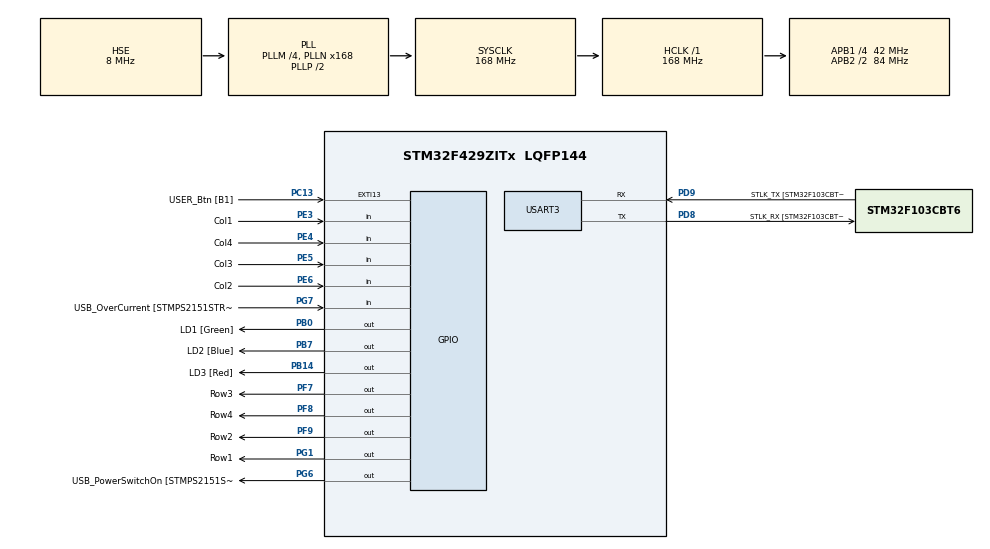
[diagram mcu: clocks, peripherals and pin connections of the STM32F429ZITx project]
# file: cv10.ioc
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Mcu.Family=STM32F4
Mcu.Name=STM32F429ZITx
Mcu.Package=LQFP144
NVIC.PriorityGroup=NVIC_PRIORITYGROUP_4
NVIC.TIM3_IRQn=true\:0\:0\:false\:false\:true\:true\:true\:true
PA1.GPIO_Label=RMII_REF_CLK [LAN8742A-CZ-TR_REFCLK0]
PA1.Signal=ETH_REF_CLK
PA10.GPIO_Label=USB_ID
PA10.Signal=USB_OTG_FS_ID
PA11.GPIO_Label=USB_DM
PA11.Signal=USB_OTG_FS_DM
PA12.GPIO_Label=USB_DP
PA12.Signal=USB_OTG_FS_DP
PA13.GPIO_Label=TMS
PA13.Mode=Serial_Wire
PA13.Signal=SYS_JTMS-SWDIO
PA14.GPIO_Label=TCK
PA14.Mode=Serial_Wire
PA14.Signal=SYS_JTCK-SWCLK
PA2.GPIO_Label=RMII_MDIO [LAN8742A-CZ-TR_MDIO]
PA2.Signal=ETH_MDIO
PA7.GPIO_Label=RMII_CRS_DV [LAN8742A-CZ-TR_CRS_DV]
PA7.Signal=ETH_CRS_DV
PA8.GPIO_Label=USB_SOF [TP1]
PA8.Signal=USB_OTG_FS_SOF
PA9.GPIO_Label=USB_VBUS
PA9.Signal=USB_OTG_FS_VBUS
PB0.GPIO_Label=LD1 [Green]
PB0.Signal=GPIO_Output
PB13.GPIO_Label=RMII_TXD1 [LAN8742A-CZ-TR_TXD1]
PB13.Signal=ETH_TXD1
PB14.GPIO_Label=LD3 [Red]
PB14.Signal=GPIO_Output
PB7.GPIO_Label=LD2 [Blue]
PB7.Signal=GPIO_Output
PC1.GPIO_Label=RMII_MDC [LAN8742A-CZ-TR_MDC]
PC1.Signal=ETH_MDC
PC13.GPIO_Label=USER_Btn [B1]
PC13.Signal=GPXTI13
PC14/OSC32_IN.Mode=LSE-External-Oscillator
PC14/OSC32_IN.Signal=RCC_OSC32_IN
PC15/OSC32_OUT.Mode=LSE-External-Oscillator
PC15/OSC32_OUT.Signal=RCC_OSC32_OUT
PC4.GPIO_Label=RMII_RXD0 [LAN8742A-CZ-TR_RXD0]
PC4.Signal=ETH_RXD0
PC5.GPIO_Label=RMII_RXD1 [LAN8742A-CZ-TR_RXD1]
PC5.Signal=ETH_RXD1
PD8.GPIO_Label=STLK_RX [STM32F103CBT6_PA3]
PD8.Mode=Asynchronous
PD8.Signal=USART3_TX
PD9.GPIO_Label=STLK_TX [STM32F103CBT6_PA2]
PD9.Mode=Asynchronous
PD9.Signal=USART3_RX
PE3.GPIO_Label=Col1
PE3.GPIO_PuPd=GPIO_PULLUP
PE3.Signal=GPIO_Input
PE4.GPIO_Label=Col4
PE4.GPIO_PuPd=GPIO_PULLUP
PE4.Signal=GPIO_Input
PE5.GPIO_Label=Col3
PE5.GPIO_PuPd=GPIO_PULLUP
PE5.Signal=GPIO_Input
PE6.GPIO_Label=Col2
PE6.GPIO_PuPd=GPIO_PULLUP
PE6.Signal=GPIO_Input
PF7.GPIO_Label=Row3
PF7.GPIO_ModeDefaultOutputPP=GPIO_MODE_OUTPUT_OD
PF7.GPIO_PuPd=GPIO_NOPULL
PF7.Signal=GPIO_Output
PF8.GPIO_Label=Row4
PF8.GPIO_ModeDefaultOutputPP=GPIO_MODE_OUTPUT_OD
PF8.GPIO_PuPd=GPIO_NOPULL
PF8.Signal=GPIO_Output
PF9.GPIO_Label=Row2
PF9.GPIO_ModeDefaultOutputPP=GPIO_MODE_OUTPUT_OD
PF9.GPIO_PuPd=GPIO_NOPULL
PF9.Signal=GPIO_Output
PG1.GPIO_Label=Row1
PG1.GPIO_ModeDefaultOutputPP=GPIO_MODE_OUTPUT_OD
PG1.GPIO_PuPd=GPIO_NOPULL
PG1.Signal=GPIO_Output
PG11.GPIO_Label=RMII_TX_EN [LAN8742A-CZ-TR_TXEN]
PG11.Signal=ETH_TX_EN
PG13.GPIO_Label=RMII_TXD0 [LAN8742A-CZ-TR_TXD0]
PG13.Signal=ETH_TXD0
PG6.GPIO_Label=USB_PowerSwitchOn [STMPS2151STR_EN]
PG6.Signal=GPIO_Output
PG7.GPIO_Label=USB_OverCurrent [STMPS2151STR_FAULT]
PG7.Signal=GPIO_Input
PH0/OSC_IN.GPIO_Label=MCO [STM32F103CBT6_PA8]
PH0/OSC_IN.Mode=HSE-External-Clock-Source
PH0/OSC_IN.Signal=RCC_OSC_IN
PH1/OSC_OUT.Mode=HSE-External-Clock-Source
PH1/OSC_OUT.Signal=RCC_OSC_OUT
ProjectManager.HeapSize=0x200
ProjectManager.StackSize=0x400
ProjectManager.TargetToolchain=STM32CubeIDE
RCC.48MHZClocksFreq_Value=48000000
RCC.AHBFreq_Value=168000000
RCC.APB1CLKDivider=RCC_HCLK_DIV4
RCC.APB1Freq_Value=42000000
RCC.APB1TimFreq_Value=84000000
RCC.APB2CLKDivider=RCC_HCLK_DIV2
RCC.APB2Freq_Value=84000000
RCC.APB2TimCLKDivider=2
RCC.APB2TimFreq_Value=168000000
RCC.CortexFreq_Value=168000000
RCC.HCLKFreq_Value=168000000
RCC.HSE_VALUE=8000000
RCC.HSI_VALUE=16000000
RCC.PLLM=4
RCC.PLLMUL=RCC_PLL_MUL9
RCC.PLLN=168
RCC.PLLQ=7
RCC.PLLSourceVirtual=RCC_PLLSOURCE_HSE
RCC.PRESCALERUSB=RCC_USBCLKSOURCE_PLL_DIV1_5
RCC.SYSCLKFreq_VALUE=168000000
RCC.SYSCLKSource=RCC_SYSCLKSOURCE_PLLCLK
RCC.SYSCLKSourceVirtual=RCC_SYSCLKSOURCE_PLLCLK
RCC.USBFreq_Value=48000000
RCC.VCOOutputFreq_Value=336000000
TIM3.AutoReloadPreload=TIM_AUTORELOAD_PRELOAD_DISABLE
TIM3.Period=99
TIM3.Prescaler=8399
USART3.VirtualMode=VM_ASYNC
VP_TIM3_VS_ClockSourceINT.Mode=Internal
board=NUCLEO-F429ZI

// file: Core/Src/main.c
/* USER CODE BEGIN Header */
/**
  ******************************************************************************
  * @file           : main.c
  * @brief          : Main program body
  ******************************************************************************
  * @attention
  *
  * Copyright (c) 2023 STMicroelectronics.
  * All rights reserved.
  *
  * This software is licensed under terms that can be found in the LICENSE file
  * in the root directory of this software component.
  * If no LICENSE file comes with this software, it is provided AS-IS.
  *
  ******************************************************************************
  */
/* USER CODE END Header */
#include "main.h"

/* USER CODE BEGIN Includes */
#include <stdio.h>
/* USER CODE END Includes */

/* USER CODE BEGIN PD */
#define DELAY_3s 3000
/* USER CODE END PD */

TIM_HandleTypeDef htim3;

UART_HandleTypeDef huart3;

/* USER CODE BEGIN PV */
static volatile uint32_t key;
/* USER CODE END PV */

void SystemClock_Config(void);
static void MX_GPIO_Init(void);
static void MX_USART3_UART_Init(void);
static void MX_TIM3_Init(void);

/* USER CODE BEGIN 0 */
int __io_putchar(int ch) {
	ITM_SendChar(ch);
	return 0;
}

/* USER CODE END 0 */

int main(void)
{

  /* MCU Configuration--------------------------------------------------------*/

  /* Reset of all peripherals, Initializes the Flash interface and the Systick. */
  HAL_Init();

  /* Configure the system clock */
  SystemClock_Config();

  /* Initialize all configured peripherals */
  MX_GPIO_Init();
  MX_USART3_UART_Init();
  MX_TIM3_Init();
  /* USER CODE BEGIN 2 */
  HAL_TIM_Base_Start_IT(&htim3);
  /* USER CODE END 2 */

  /* Infinite loop */
  while (1)
  {

    /* USER CODE BEGIN 3 */
	static const uint32_t code[] = {7,9,3,2,12};
	uint32_t position;
	static uint16_t delay;

	if (HAL_GetTick() > delay + DELAY_3s) {
				position = 0;
	}
	delay = HAL_GetTick();
	if (key != -1) {
		if (key == code[position] && position == 0){
			position = 1;
			printf("code: %d > position: %d\n", key, position);
		}
		else if (key == code[position] && position == 1){
			position = 2;
			printf("code: %d > position: %d\n", key, position);
		}
		else if (key == code[position] && position == 2){
			position = 3;
			printf("code: %d > position: %d\n", key, position);
			}
		else if (key == code[position] && position == 3){
			position = 4;
			printf("code: %d > position: %d\n", key, position);
		}
		else if (key == code[position] && position == 4){
			position = 0;
			printf("code: %d > position: %d\n", key, position);
			printf("Right password\n");
			HAL_GPIO_TogglePin(LD1_GPIO_Port, LD1_Pin);
		}
		else {
			position = 0;
			printf("code: %d > position: %d\n", key, position);
		}
		HAL_Delay(500);
		delay = HAL_GetTick;
		key = -1;
	}
  }
  /* USER CODE END 3 */
}

void SystemClock_Config(void)
{
  RCC_OscInitTypeDef RCC_OscInitStruct = {0};
  RCC_ClkInitTypeDef RCC_ClkInitStruct = {0};

  /** Configure the main internal regulator output voltage
  */
  __HAL_RCC_PWR_CLK_ENABLE();
  __HAL_PWR_VOLTAGESCALING_CONFIG(PWR_REGULATOR_VOLTAGE_SCALE1);

  /** Initializes the RCC Oscillators according to the specified parameters
  * in the RCC_OscInitTypeDef structure.
  */
  RCC_OscInitStruct.OscillatorType = RCC_OSCILLATORTYPE_HSE;
  RCC_OscInitStruct.HSEState = RCC_HSE_BYPASS;
  RCC_OscInitStruct.PLL.PLLState = RCC_PLL_ON;
  RCC_OscInitStruct.PLL.PLLSource = RCC_PLLSOURCE_HSE;
  RCC_OscInitStruct.PLL.PLLM = 4;
  RCC_OscInitStruct.PLL.PLLN = 168;
  RCC_OscInitStruct.PLL.PLLP = RCC_PLLP_DIV2;
  RCC_OscInitStruct.PLL.PLLQ = 7;
  if (HAL_RCC_OscConfig(&RCC_OscInitStruct) != HAL_OK)
  {
    Error_Handler();
  }

  /** Initializes the CPU, AHB and APB buses clocks
  */
  RCC_ClkInitStruct.ClockType = RCC_CLOCKTYPE_HCLK|RCC_CLOCKTYPE_SYSCLK
                              |RCC_CLOCKTYPE_PCLK1|RCC_CLOCKTYPE_PCLK2;
  RCC_ClkInitStruct.SYSCLKSource = RCC_SYSCLKSOURCE_PLLCLK;
  RCC_ClkInitStruct.AHBCLKDivider = RCC_SYSCLK_DIV1;
  RCC_ClkInitStruct.APB1CLKDivider = RCC_HCLK_DIV4;
  RCC_ClkInitStruct.APB2CLKDivider = RCC_HCLK_DIV2;

  if (HAL_RCC_ClockConfig(&RCC_ClkInitStruct, FLASH_LATENCY_5) != HAL_OK)
  {
    Error_Handler();
  }
}

static void MX_TIM3_Init(void)
{

  TIM_ClockConfigTypeDef sClockSourceConfig = {0};
  TIM_MasterConfigTypeDef sMasterConfig = {0};

  htim3.Instance = TIM3;
  htim3.Init.Prescaler = 8399;
  htim3.Init.CounterMode = TIM_COUNTERMODE_UP;
  htim3.Init.Period = 99;
  htim3.Init.ClockDivision = TIM_CLOCKDIVISION_DIV1;
  htim3.Init.AutoReloadPreload = TIM_AUTORELOAD_PRELOAD_DISABLE;
  if (HAL_TIM_Base_Init(&htim3) != HAL_OK)
  {
    Error_Handler();
  }
  sClockSourceConfig.ClockSource = TIM_CLOCKSOURCE_INTERNAL;
  if (HAL_TIM_ConfigClockSource(&htim3, &sClockSourceConfig) != HAL_OK)
  {
    Error_Handler();
  }
  sMasterConfig.MasterOutputTrigger = TIM_TRGO_RESET;
  sMasterConfig.MasterSlaveMode = TIM_MASTERSLAVEMODE_DISABLE;
  if (HAL_TIMEx_MasterConfigSynchronization(&htim3, &sMasterConfig) != HAL_OK)
  {
    Error_Handler();
  }

}

static void MX_USART3_UART_Init(void)
{

  huart3.Instance = USART3;
  huart3.Init.BaudRate = 115200;
  huart3.Init.WordLength = UART_WORDLENGTH_8B;
  huart3.Init.StopBits = UART_STOPBITS_1;
  huart3.Init.Parity = UART_PARITY_NONE;
  huart3.Init.Mode = UART_MODE_TX_RX;
  huart3.Init.HwFlowCtl = UART_HWCONTROL_NONE;
  huart3.Init.OverSampling = UART_OVERSAMPLING_16;
  if (HAL_UART_Init(&huart3) != HAL_OK)
  {
    Error_Handler();
  }

}

static void MX_GPIO_Init(void)
{
  GPIO_InitTypeDef GPIO_InitStruct = {0};

  /* GPIO Ports Clock Enable */
  __HAL_RCC_GPIOE_CLK_ENABLE();
  __HAL_RCC_GPIOC_CLK_ENABLE();
  __HAL_RCC_GPIOF_CLK_ENABLE();
  __HAL_RCC_GPIOH_CLK_ENABLE();
  __HAL_RCC_GPIOA_CLK_ENABLE();
  __HAL_RCC_GPIOB_CLK_ENABLE();
  __HAL_RCC_GPIOG_CLK_ENABLE();
  __HAL_RCC_GPIOD_CLK_ENABLE();

  /*Configure GPIO pin Output Level */
  HAL_GPIO_WritePin(GPIOF, Row3_Pin|Row4_Pin|Row2_Pin, GPIO_PIN_RESET);

  /*Configure GPIO pin Output Level */
  HAL_GPIO_WritePin(GPIOB, LD1_Pin|LD3_Pin|LD2_Pin, GPIO_PIN_RESET);

  /*Configure GPIO pin Output Level */
  HAL_GPIO_WritePin(GPIOG, Row1_Pin|USB_PowerSwitchOn_Pin, GPIO_PIN_RESET);

  /*Configure GPIO pins : Col1_Pin Col4_Pin Col3_Pin Col2_Pin */
  GPIO_InitStruct.Pin = Col1_Pin|Col4_Pin|Col3_Pin|Col2_Pin;
  GPIO_InitStruct.Mode = GPIO_MODE_INPUT;
  GPIO_InitStruct.Pull = GPIO_PULLUP;
  HAL_GPIO_Init(GPIOE, &GPIO_InitStruct);

  /*Configure GPIO pin : USER_Btn_Pin */
  GPIO_InitStruct.Pin = USER_Btn_Pin;
  GPIO_InitStruct.Mode = GPIO_MODE_IT_RISING;
  GPIO_InitStruct.Pull = GPIO_NOPULL;
  HAL_GPIO_Init(USER_Btn_GPIO_Port, &GPIO_InitStruct);

  /*Configure GPIO pins : Row3_Pin Row4_Pin Row2_Pin */
  GPIO_InitStruct.Pin = Row3_Pin|Row4_Pin|Row2_Pin;
  GPIO_InitStruct.Mode = GPIO_MODE_OUTPUT_OD;
  GPIO_InitStruct.Pull = GPIO_NOPULL;
  GPIO_InitStruct.Speed = GPIO_SPEED_FREQ_LOW;
  HAL_GPIO_Init(GPIOF, &GPIO_InitStruct);

  /*Configure GPIO pins : RMII_MDC_Pin RMII_RXD0_Pin RMII_RXD1_Pin */
  GPIO_InitStruct.Pin = RMII_MDC_Pin|RMII_RXD0_Pin|RMII_RXD1_Pin;
  GPIO_InitStruct.Mode = GPIO_MODE_AF_PP;
  GPIO_InitStruct.Pull = GPIO_NOPULL;
  GPIO_InitStruct.Speed = GPIO_SPEED_FREQ_VERY_HIGH;
  GPIO_InitStruct.Alternate = GPIO_AF11_ETH;
  HAL_GPIO_Init(GPIOC, &GPIO_InitStruct);

  /*Configure GPIO pins : RMII_REF_CLK_Pin RMII_MDIO_Pin RMII_CRS_DV_Pin */
  GPIO_InitStruct.Pin = RMII_REF_CLK_Pin|RMII_MDIO_Pin|RMII_CRS_DV_Pin;
  GPIO_InitStruct.Mode = GPIO_MODE_AF_PP;
  GPIO_InitStruct.Pull = GPIO_NOPULL;
  GPIO_InitStruct.Speed = GPIO_SPEED_FREQ_VERY_HIGH;
  GPIO_InitStruct.Alternate = GPIO_AF11_ETH;
  HAL_GPIO_Init(GPIOA, &GPIO_InitStruct);

  /*Configure GPIO pins : LD1_Pin LD3_Pin LD2_Pin */
  GPIO_InitStruct.Pin = LD1_Pin|LD3_Pin|LD2_Pin;
  GPIO_InitStruct.Mode = GPIO_MODE_OUTPUT_PP;
  GPIO_InitStruct.Pull = GPIO_NOPULL;
  GPIO_InitStruct.Speed = GPIO_SPEED_FREQ_LOW;
  HAL_GPIO_Init(GPIOB, &GPIO_InitStruct);

  /*Configure GPIO pin : Row1_Pin */
  GPIO_InitStruct.Pin = Row1_Pin;
  GPIO_InitStruct.Mode = GPIO_MODE_OUTPUT_OD;
  GPIO_InitStruct.Pull = GPIO_NOPULL;
  GPIO_InitStruct.Speed = GPIO_SPEED_FREQ_LOW;
  HAL_GPIO_Init(Row1_GPIO_Port, &GPIO_InitStruct);

  /*Configure GPIO pin : RMII_TXD1_Pin */
  GPIO_InitStruct.Pin = RMII_TXD1_Pin;
  GPIO_InitStruct.Mode = GPIO_MODE_AF_PP;
  GPIO_InitStruct.Pull = GPIO_NOPULL;
  GPIO_InitStruct.Speed = GPIO_SPEED_FREQ_VERY_HIGH;
  GPIO_InitStruct.Alternate = GPIO_AF11_ETH;
  HAL_GPIO_Init(RMII_TXD1_GPIO_Port, &GPIO_InitStruct);

  /*Configure GPIO pin : USB_PowerSwitchOn_Pin */
  GPIO_InitStruct.Pin = USB_PowerSwitchOn_Pin;
  GPIO_InitStruct.Mode = GPIO_MODE_OUTPUT_PP;
  GPIO_InitStruct.Pull = GPIO_NOPULL;
  GPIO_InitStruct.Speed = GPIO_SPEED_FREQ_LOW;
  HAL_GPIO_Init(USB_PowerSwitchOn_GPIO_Port, &GPIO_InitStruct);

  /*Configure GPIO pin : USB_OverCurrent_Pin */
  GPIO_InitStruct.Pin = USB_OverCurrent_Pin;
  GPIO_InitStruct.Mode = GPIO_MODE_INPUT;
  GPIO_InitStruct.Pull = GPIO_NOPULL;
  HAL_GPIO_Init(USB_OverCurrent_GPIO_Port, &GPIO_InitStruct);

  /*Configure GPIO pins : USB_SOF_Pin USB_ID_Pin USB_DM_Pin USB_DP_Pin */
  GPIO_InitStruct.Pin = USB_SOF_Pin|USB_ID_Pin|USB_DM_Pin|USB_DP_Pin;
  GPIO_InitStruct.Mode = GPIO_MODE_AF_PP;
  GPIO_InitStruct.Pull = GPIO_NOPULL;
  GPIO_InitStruct.Speed = GPIO_SPEED_FREQ_VERY_HIGH;
  GPIO_InitStruct.Alternate = GPIO_AF10_OTG_FS;
  HAL_GPIO_Init(GPIOA, &GPIO_InitStruct);

  /*Configure GPIO pin : USB_VBUS_Pin */
  GPIO_InitStruct.Pin = USB_VBUS_Pin;
  GPIO_InitStruct.Mode = GPIO_MODE_INPUT;
  GPIO_InitStruct.Pull = GPIO_NOPULL;
  HAL_GPIO_Init(USB_VBUS_GPIO_Port, &GPIO_InitStruct);

  /*Configure GPIO pins : RMII_TX_EN_Pin RMII_TXD0_Pin */
  GPIO_InitStruct.Pin = RMII_TX_EN_Pin|RMII_TXD0_Pin;
  GPIO_InitStruct.Mode = GPIO_MODE_AF_PP;
  GPIO_InitStruct.Pull = GPIO_NOPULL;
  GPIO_InitStruct.Speed = GPIO_SPEED_FREQ_VERY_HIGH;
  GPIO_InitStruct.Alternate = GPIO_AF11_ETH;
  HAL_GPIO_Init(GPIOG, &GPIO_InitStruct);

}

/* USER CODE BEGIN 4 */
void HAL_TIM_PeriodElapsedCallback(TIM_HandleTypeDef *htim) {
	static int row = 0;
	static const int keyboard[4][4] = {
			{ 1, 2, 3, 21 },
			{ 4, 5, 6, 22 },
			{ 7, 8, 9, 23 },
			{ 11, 0, 12, 24 },
	};
	if (key == -1) {
		if (HAL_GPIO_ReadPin(Col1_GPIO_Port, Col1_Pin) == GPIO_PIN_RESET)
			key = keyboard[row][0];
		if (HAL_GPIO_ReadPin(Col2_GPIO_Port, Col2_Pin) == GPIO_PIN_RESET)
			key = keyboard[row][1];
		if (HAL_GPIO_ReadPin(Col3_GPIO_Port, Col3_Pin) == GPIO_PIN_RESET)
			key = keyboard[row][2];
		if (HAL_GPIO_ReadPin(Col4_GPIO_Port, Col4_Pin) == GPIO_PIN_RESET)
			key = keyboard[row][3];

	}
	HAL_GPIO_WritePin(Row1_GPIO_Port, Row1_Pin, GPIO_PIN_SET);
	HAL_GPIO_WritePin(Row2_GPIO_Port, Row2_Pin, GPIO_PIN_SET);
	HAL_GPIO_WritePin(Row3_GPIO_Port, Row3_Pin, GPIO_PIN_SET);
	HAL_GPIO_WritePin(Row4_GPIO_Port, Row4_Pin, GPIO_PIN_SET);
	switch (row) {
	case 0:
		row = 1;
		HAL_GPIO_WritePin(Row2_GPIO_Port, Row2_Pin, GPIO_PIN_RESET);
		break;
	case 1:
		row = 2;
		HAL_GPIO_WritePin(Row3_GPIO_Port, Row3_Pin, GPIO_PIN_RESET);
		break;
	case 2:
		row = 3;
		HAL_GPIO_WritePin(Row4_GPIO_Port, Row4_Pin, GPIO_PIN_RESET);
		break;
	case 3:
		row = 0;
		HAL_GPIO_WritePin(Row1_GPIO_Port, Row1_Pin, GPIO_PIN_RESET);
		break;
	}
}

/* USER CODE END 4 */

void Error_Handler(void)
{
  __disable_irq();
  while (1)
  {
  }
}
